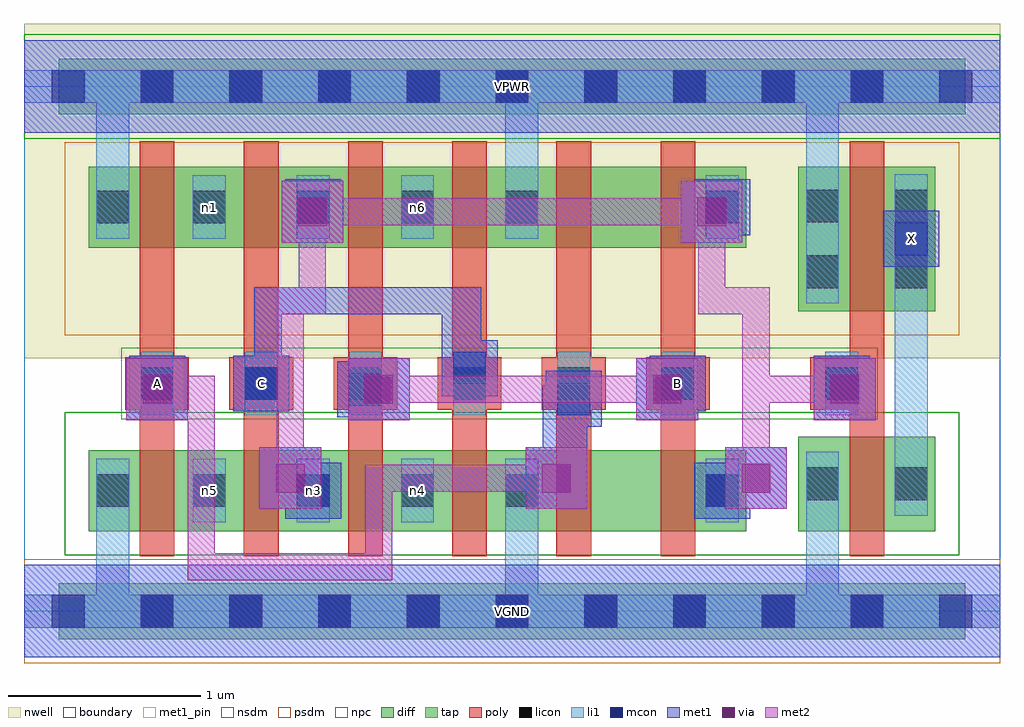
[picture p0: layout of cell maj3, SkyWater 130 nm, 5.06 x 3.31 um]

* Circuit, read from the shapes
.subckt maj3 A B C VGND VPWR X n1 n3 n4 n5 n6
XM1 n5 A VGND VGND sky130_fd_pr__nfet_01v8 w=0.42 l=0.18
XM2 n3 C n5 VGND sky130_fd_pr__nfet_01v8 w=0.42 l=0.18
XM3 n4 B n3 VGND sky130_fd_pr__nfet_01v8 w=0.42 l=0.18
XM4 VGND C n4 VGND sky130_fd_pr__nfet_01v8 w=0.42 l=0.18
XM5 n2 A VGND VGND sky130_fd_pr__nfet_01v8 w=0.42 l=0.18
XM6 n3 B n2 VGND sky130_fd_pr__nfet_01v8 w=0.42 l=0.18
XM7 X n3 VGND VGND sky130_fd_pr__nfet_01v8 w=0.49 l=0.18
XM8 n1 A VPWR VPWR sky130_fd_pr__pfet_01v8 w=0.42 l=0.18
XM9 n3 C n1 VPWR sky130_fd_pr__pfet_01v8 w=0.42 l=0.18
XM10 n6 B n3 VPWR sky130_fd_pr__pfet_01v8 w=0.42 l=0.18
XM11 VPWR C n6 VPWR sky130_fd_pr__pfet_01v8 w=0.42 l=0.18
XM12 n7 A VPWR VPWR sky130_fd_pr__pfet_01v8 w=0.42 l=0.18
XM13 n3 B n7 VPWR sky130_fd_pr__pfet_01v8 w=0.42 l=0.18
XM14 X n3 VPWR VPWR sky130_fd_pr__pfet_01v8 w=0.75 l=0.18
.ends

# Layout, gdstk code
import gdstk
lib = gdstk.Library(unit=1e-6, precision=1e-09)
def R(c, l, rs):  # rectangles x0, y0, x1, y1
    for r in rs: c.add(gdstk.rectangle(r[:2], r[2:], *l))
def A(c, l, x, y, w, h, nx, ny, dx, dy):  # array of equal rectangles
    R(c, l, [(x+i*dx, y+j*dy, x+i*dx+w, y+j*dy+h) for i in range(nx) for j in range(ny)])
nwell = (64, 20)
diff = (65, 20)
tap = (65, 44)
poly = (66, 20)
licon = (66, 44)
li1 = (67, 20)
mcon = (67, 44)
met1_pin = (68, 16)
met1 = (68, 20)
via = (68, 44)
met2 = (69, 20)
nsdm = (93, 44)
psdm = (94, 20)
npc = (95, 20)
boundary = (235, 4)

maj3 = lib.new_cell('maj3')
R(maj3, nwell, [(0,1.31,5.06,3.045)])
R(maj3, diff, [(0.335,0.415,3.745,0.835), (4.015,0.415,4.725,0.905), (4.015,1.555,4.725,2.305), (0.335,1.885,3.745,2.305)])
R(maj3, tap, [(0.18,-0.145,4.88,0.145), (0.18,2.575,4.88,2.865)])
A(maj3, poly, 0.6, 0.285, 0.18, 2.15, 6, 1, 0.54, 0)
A(maj3, poly, 0.525, 1.045, 0.33, 0.27, 6, 1, 0.54, 0)
R(maj3, poly, [(4.28,0.285,4.46,2.435), (4.075,1.045,4.405,1.315)])
A(maj3, licon, 0.605, -0.085, 0.17, 0.17, 9, 2, 0.46, 2.72)
A(maj3, licon, 0.875, 0.54, 0.17, 0.17, 4, 2, 0.54, 1.47)
A(maj3, licon, 0.605, 1.095, 0.17, 0.17, 6, 1, 0.54, 0)
R(maj3, licon, [(0.375,0.54,0.545,0.71), (3.535,0.54,3.705,0.71), (4.055,0.575,4.225,0.745), (4.515,0.575,4.685,0.745), (4.155,1.095,4.325,1.265), (4.055,1.675,4.225,1.845), (4.515,1.675,4.685,1.845), (0.375,2.01,0.545,2.18), (3.535,2.01,3.705,2.18), (4.055,2.015,4.225,2.185), (4.515,2.015,4.685,2.185)])
A(maj3, li1, 0.875, 0.46, 0.17, 0.33, 4, 2, 0.54, 1.47)
A(maj3, li1, 0.605, 1.015, 0.17, 0.33, 6, 1, 0.54, 0)
R(maj3, li1, [(0,-0.085,5.06,0.085), (0.375,-0.085,0.545,0.79), (2.495,-0.085,2.665,0.79), (4.055,-0.085,4.225,0.825), (0.375,0.46,0.545,0.79), (3.535,0.46,3.705,0.79), (4.055,0.495,4.225,0.825), (4.515,0.495,4.685,0.825), (4.515,0.495,4.685,2.265), (4.155,1.015,4.325,1.345), (4.055,1.595,4.225,2.265), (4.055,1.595,4.225,2.805), (4.515,1.595,4.685,2.265), (0.375,1.93,0.545,2.26), (0.375,1.93,0.545,2.805), (2.495,1.93,2.665,2.805), (3.535,1.93,3.705,2.26), (0,2.635,5.06,2.805)])
A(maj3, mcon, 0.145, -0.085, 0.17, 0.17, 11, 2, 0.46, 2.72)
R(maj3, mcon, [(1.415,0.54,1.585,0.71), (3.535,0.54,3.705,0.71), (2.765,1.015,2.935,1.185), (1.685,1.065,1.855,1.235), (0.605,1.095,0.775,1.265), (1.145,1.095,1.315,1.265), (3.305,1.095,3.475,1.265), (4.155,1.095,4.325,1.265), (2.225,1.175,2.395,1.345), (4.515,1.845,4.685,2.015), (1.415,2.01,1.585,2.18), (3.535,2.01,3.705,2.18)])
R(maj3, met1_pin, [(0,-0.24,5.06,0.24), (0.545,1.035,0.835,1.325), (1.085,1.035,1.375,1.325), (3.245,1.035,3.535,1.325), (4.455,1.785,4.745,2.075), (0,2.48,5.06,2.96)])
R(maj3, met1, [(0,-0.24,5.06,0.24), (1.355,0.48,1.645,0.77), (3.475,0.48,3.765,0.77), (1.22,0.53,1.54,0.85), (2.6,0.53,2.92,0.85), (3.635,0.53,3.955,0.85), (1.31,0.62,1.565,0.76), (1.425,0.62,1.565,0.76), (2.69,0.62,2.83,0.99), (3.61,0.62,3.75,0.76), (3.61,0.62,3.865,0.76), (2.69,0.85,2.83,1.17), (2.705,0.85,2.92,0.955), (2.705,0.955,2.995,1.245), (0.53,0.99,0.85,1.31), (1.68,0.99,2,1.31), (3.175,0.99,3.495,1.31), (4.095,0.99,4.415,1.31), (1.625,1.005,1.915,1.295), (2.69,1.03,2.92,1.17), (0.545,1.035,0.835,1.325), (1.085,1.035,1.375,1.325), (3.245,1.035,3.535,1.325), (4.095,1.035,4.385,1.325), (0.62,1.08,0.76,1.22), (1.195,1.08,1.335,1.22), (1.195,1.08,1.335,1.68), (1.7,1.08,1.91,1.22), (3.265,1.08,3.405,1.22), (4.185,1.08,4.325,1.22), (2.165,1.115,2.455,1.405), (2.23,1.19,2.38,1.33), (2.23,1.19,2.37,1.45), (2.23,1.31,2.37,1.68), (2.165,1.405,2.37,1.54), (1.195,1.54,2.37,1.68), (4.455,1.785,4.745,2.075), (1.335,1.91,1.655,2.23), (3.405,1.91,3.725,2.23), (1.355,1.95,1.645,2.24), (3.475,1.95,3.765,2.24), (1.425,2,1.565,2.14), (3.495,2,3.635,2.14), (0,2.48,5.06,2.96)])
R(maj3, via, [(1.305,0.615,1.455,0.765), (2.685,0.615,2.835,0.765), (3.72,0.615,3.87,0.765), (0.615,1.075,0.765,1.225), (1.765,1.075,1.915,1.225), (3.26,1.075,3.41,1.225), (4.18,1.075,4.33,1.225), (1.42,1.995,1.57,2.145), (3.49,1.995,3.64,2.145)])
R(maj3, met2, [(0.85,0.16,0.99,1.22), (0.85,0.16,1.91,0.3), (1.77,0.16,1.91,0.76), (1.22,0.53,1.54,0.85), (2.6,0.53,2.92,0.85), (3.635,0.53,3.955,0.85), (1.31,0.62,1.45,1.68), (1.77,0.62,2.83,0.76), (3.725,0.62,3.865,1.22), (0.53,0.99,0.85,1.31), (1.68,0.99,2,1.31), (3.175,0.99,3.495,1.31), (4.095,0.99,4.415,1.31), (0.62,1.08,0.99,1.22), (1.77,1.08,3.405,1.22), (3.725,1.08,3.865,1.68), (3.725,1.08,4.325,1.22), (1.31,1.54,1.565,1.68), (1.425,1.54,1.565,2.14), (3.495,1.54,3.635,2.14), (3.495,1.54,3.865,1.68), (1.335,1.91,1.655,2.23), (3.405,1.91,3.725,2.23), (1.425,2,3.635,2.14)])
R(maj3, nsdm, [(0.21,0.29,4.85,1.03), (0,2.45,5.06,2.99)])
R(maj3, psdm, [(0,-0.27,5.06,0.27), (0.21,1.43,4.85,2.43)])
R(maj3, npc, [(0.505,0.995,4.425,1.365)])
R(maj3, boundary, [(0,0,5.06,2.72)])
maj3.add(gdstk.Label('n5', (0.96,0.625), layer=67, texttype=5))
maj3.add(gdstk.Label('n3', (1.5,0.625), layer=67, texttype=5))
maj3.add(gdstk.Label('n4', (2.04,0.625), layer=67, texttype=5))
maj3.add(gdstk.Label('n1', (0.96,2.095), layer=67, texttype=5))
maj3.add(gdstk.Label('n6', (2.04,2.095), layer=67, texttype=5))
maj3.add(gdstk.Label('A', (0.69,1.18), layer=68, texttype=5))
maj3.add(gdstk.Label('B', (3.39,1.18), layer=68, texttype=5))
maj3.add(gdstk.Label('C', (1.23,1.18), layer=68, texttype=5))
maj3.add(gdstk.Label('X', (4.6,1.93), layer=68, texttype=5))
maj3.add(gdstk.Label('VPWR', (2.53,2.72), layer=68, texttype=5))
maj3.add(gdstk.Label('VGND', (2.53,0), layer=68, texttype=5))
maj3.add(gdstk.Label('A', (0.69,1.18), layer=68, texttype=16))
maj3.add(gdstk.Label('B', (3.39,1.18), layer=68, texttype=16))
maj3.add(gdstk.Label('C', (1.23,1.18), layer=68, texttype=16))
maj3.add(gdstk.Label('X', (4.6,1.93), layer=68, texttype=16))
maj3.add(gdstk.Label('VPWR', (2.53,2.72), layer=68, texttype=16))
maj3.add(gdstk.Label('VGND', (2.53,0), layer=68, texttype=16))

lib.write_gds('maj3.gds')
